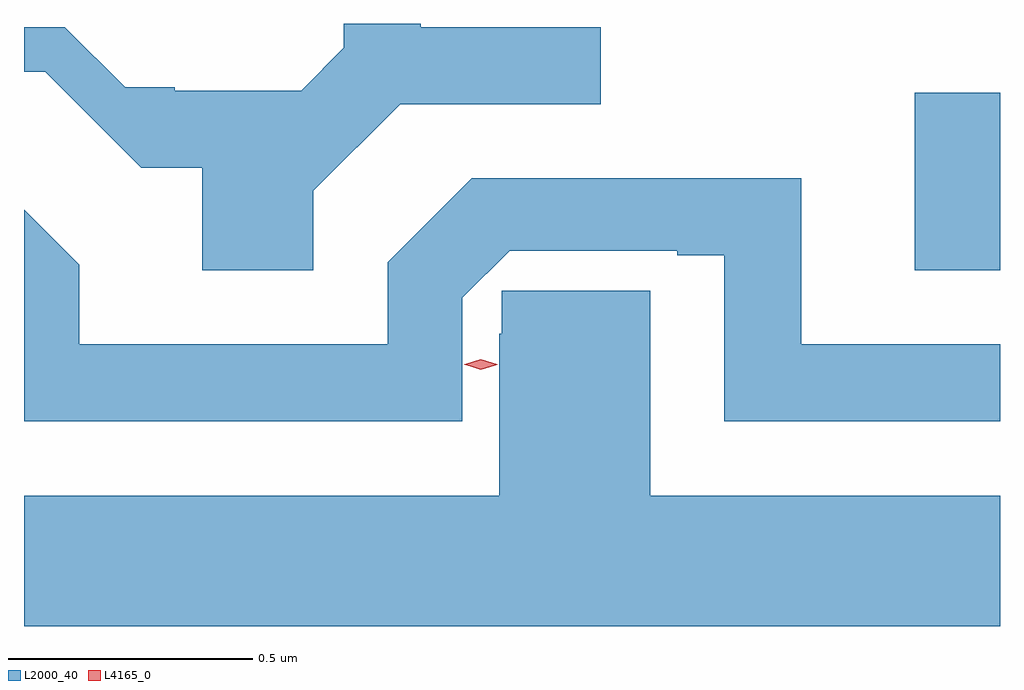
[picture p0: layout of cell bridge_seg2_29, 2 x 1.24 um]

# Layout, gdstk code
import gdstk
lib = gdstk.Library(unit=1e-6, precision=1e-09)
def R(c, l, rs):  # rectangles x0, y0, x1, y1
    for r in rs: c.add(gdstk.rectangle(r[:2], r[2:], *l))
def P(c, l, *ps):  # polygons
    for p in ps: c.add(gdstk.Polygon(p, *l))
L2000_40 = (2000, 40)
L4165_0 = (4165, 0)

bridge_seg2_29 = lib.new_cell('bridge_seg2_29')
R(bridge_seg2_29, L2000_40, [(1670.681,1049.046,1670.856,1049.409)])
P(bridge_seg2_29, L2000_40, [(1669.449,1049.209),(1669.627,1049.386),(1670.038,1049.386),(1670.038,1049.544),(1669.669,1049.544),(1669.669,1049.551),(1669.511,1049.551),(1669.511,1049.502),(1669.424,1049.414),(1669.165,1049.414),(1669.165,1049.421),(1669.063,1049.421),(1668.94,1049.544),(1668.856,1049.544),(1668.856,1049.452),(1668.9,1049.452),(1669.096,1049.256),(1669.221,1049.256),(1669.221,1049.046),(1669.449,1049.046)],
  [(1669.754,1048.989),(1669.851,1049.086),(1670.195,1049.086),(1670.195,1049.076),(1670.291,1049.076),(1670.291,1048.736),(1670.856,1048.736),(1670.856,1048.894),(1670.449,1048.894),(1670.449,1049.234),(1669.774,1049.234),(1669.601,1049.062),(1669.601,1048.894),(1668.969,1048.894),(1668.969,1049.057),(1668.856,1049.17),(1668.856,1048.736),(1669.754,1048.736)],
  [(1670.856,1048.584),(1670.139,1048.584),(1670.139,1049.004),(1669.835,1049.004),(1669.835,1048.916),(1669.83,1048.916),(1669.83,1048.584),(1668.856,1048.584),(1668.856,1048.316),(1670.856,1048.316)])
P(bridge_seg2_29, L4165_0, [(1669.792,1048.843),(1669.759,1048.852),(1669.758,1048.853),(1669.759,1048.853),(1669.792,1048.863),(1669.826,1048.853),(1669.826,1048.853),(1669.826,1048.852)],
  [(1669.792,1048.842),(1669.761,1048.852),(1669.76,1048.853),(1669.761,1048.853),(1669.792,1048.862),(1669.823,1048.852),(1669.823,1048.852),(1669.823,1048.851)])

lib.write_gds('bridge_seg2_29.gds')
